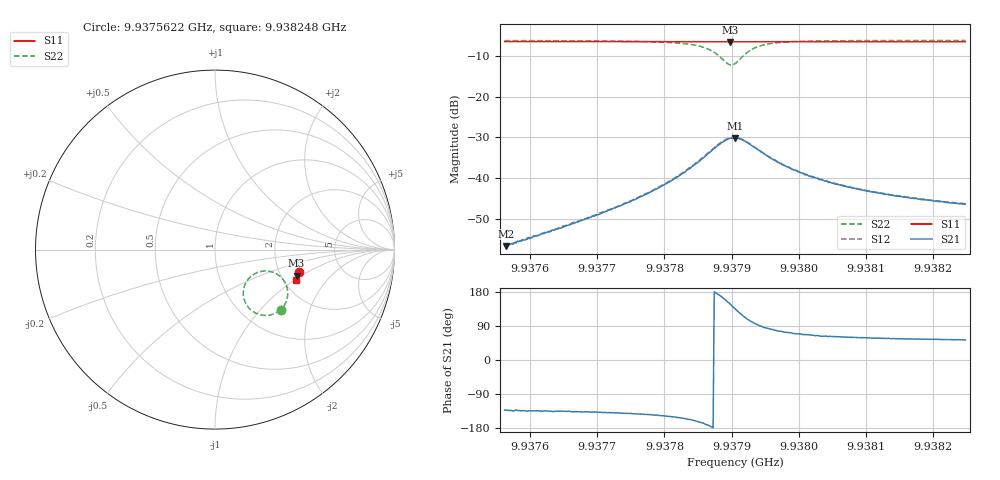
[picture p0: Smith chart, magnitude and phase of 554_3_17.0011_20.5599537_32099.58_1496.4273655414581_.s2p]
#  HZ  S  RI  R  50.00
! Rohde & Schwarz Vector Network Analyzer
! Rohde-Schwarz,ZNB20-2Port,1311601062101988,3.16
! Created: UTC 3/20/2024, 11:16:56 PM
! freq[Hz]  re:S11  im:S11  re:S21  im:S21  re:S12  im:S12  re:S22  im:S22
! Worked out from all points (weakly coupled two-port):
!   401 points, 9.9375622 GHz to 9.938248 GHz, reference 50 ohm
!   highest |S21| = -30.10 dB at 9.9379051 GHz (marker M1); lowest = -56.8 dB at 9.9375639 GHz (marker M2)
!   lowest |S11| = -6.4 dB at 9.9378983 GHz (marker M3), VSWR 2.83, Z = 121 - j45.8 ohm
!   |S11| at or under -10 dB: nowhere
!   |S22| runs from -12.1 to -6.1 dB; largest |S21 - S12| = 0.0015
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9.93756223e9  0.4659 -0.1256  -0.000991 -0.00109  -0.00101 -0.00103  0.3655 -0.3349
9.93756394e9  0.4657 -0.1257  -0.000984 -0.00106  -0.00101 -0.00107  0.3652 -0.3352
9.93767709e9  0.463 -0.1333  -0.00218 -0.00206  -0.00225 -0.00206  0.349 -0.3467
9.93774738e9  0.4613 -0.1381  -0.00394 -0.00321  -0.00405 -0.00317  0.3301 -0.3564
9.93779196e9  0.46 -0.1413  -0.00632 -0.00419  -0.00651 -0.00422  0.3075 -0.3639
9.93782453e9  0.4587 -0.1435  -0.00978 -0.00499  -0.0101 -0.00497  0.277 -0.3665
9.9378571e9  0.4571 -0.1457  -0.0169 -0.00423  -0.0175 -0.00389  0.2191 -0.3498
9.93787082e9  0.456 -0.1463  -0.0219 -0.00114  -0.0224 -0.000648  0.1842 -0.3197
9.93788282e9  0.4551 -0.1465  -0.0259 0.00445  -0.0265 0.00554  0.1599 -0.2673
9.93789311e9  0.4547 -0.1463  -0.0269 0.0127  -0.0273 0.0137  0.1641 -0.2028
9.93789825e9  0.4545 -0.146  -0.0258 0.0169  -0.0258 0.0182  0.1808 -0.1705
9.93790511e9  0.4547 -0.1457  -0.0222 0.022  -0.0218 0.0233  0.2178 -0.1364
9.93791368e9  0.4552 -0.1457  -0.0158 0.0256  -0.015 0.0265  0.2741 -0.1191
9.93792568e9  0.4559 -0.1464  -0.00708 0.0256  -0.00638 0.0261  0.3404 -0.1338
9.93793425e9  0.4561 -0.1471  -0.00268 0.0236  -0.00202 0.0239  0.3702 -0.1564
9.93794454e9  0.4564 -0.1479  0.00045 0.0209  0.00102 0.021  0.3905 -0.1841
9.93797883e9  0.4561 -0.1508  0.00412 0.0137  0.00425 0.0136  0.4054 -0.2468
9.93801997e9  0.4551 -0.154  0.00431 0.00932  0.00461 0.00935  0.3992 -0.2824
9.93806969e9  0.454 -0.1575  0.00391 0.00684  0.00403 0.00688  0.3898 -0.3038
9.93813484e9  0.4519 -0.1619  0.00338 0.00519  0.00356 0.00517  0.3807 -0.3189
9.93818113e9  0.4509 -0.1649  0.0031 0.00445  0.00325 0.00445  0.3751 -0.3263
9.93824799e9  0.449 -0.1693  0.00286 0.0038  0.00297 0.0038  0.3684 -0.3343
